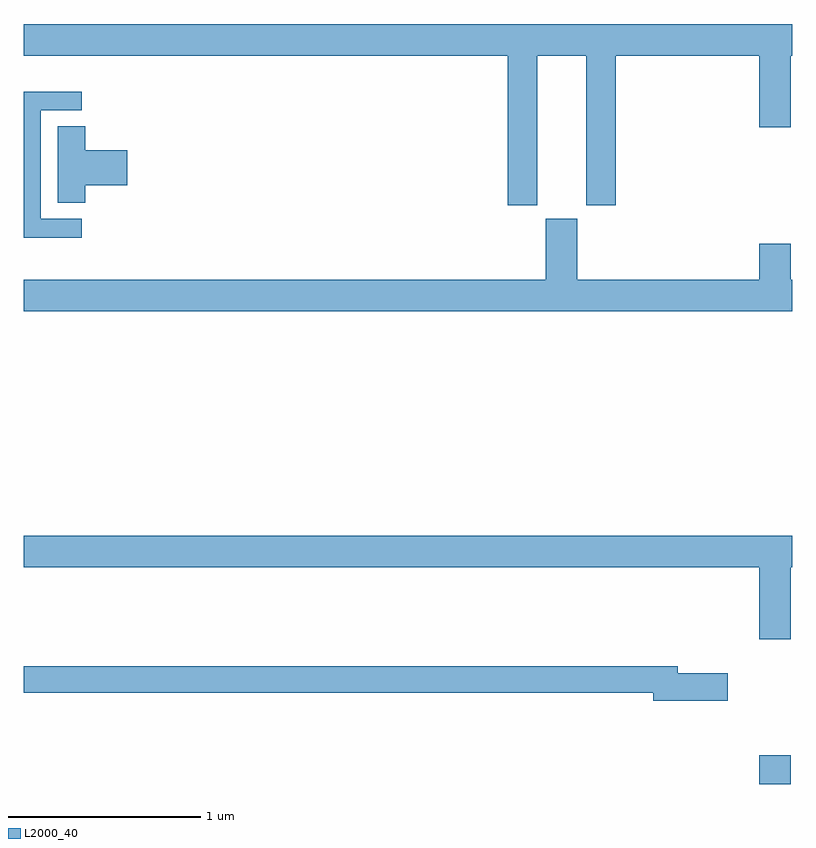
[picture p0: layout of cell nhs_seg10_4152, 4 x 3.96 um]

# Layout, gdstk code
import gdstk
lib = gdstk.Library(unit=1e-6, precision=1e-09)
def R(c, l, rs):  # rectangles x0, y0, x1, y1
    for r in rs: c.add(gdstk.rectangle(r[:2], r[2:], *l))
def P(c, l, *ps):  # polygons
    for p in ps: c.add(gdstk.Polygon(p, *l))
L2000_40 = (2000, 40)

nhs_seg10_4152 = lib.new_cell('nhs_seg10_4152')
R(nhs_seg10_4152, L2000_40, [(344.828,1320.5,344.992,1320.649)])
P(nhs_seg10_4152, L2000_40, [(343.672,1324.292),(343.928,1324.292),(343.928,1323.513),(344.081,1323.513),(344.081,1324.292),(344.828,1324.292),(344.828,1323.918),(344.992,1323.918),(344.992,1324.292),(345,1324.292),(345,1324.456),(341,1324.456),(341,1324.292),(343.52,1324.292),(343.52,1323.513),(343.672,1323.513)],
  [(341.302,1323.441),(341.088,1323.441),(341.088,1324.008),(341.302,1324.008),(341.302,1324.104),(341,1324.104),(341,1323.343),(341.302,1323.343)],
  [(341.321,1323.617),(341.539,1323.617),(341.539,1323.8),(341.321,1323.8),(341.321,1323.923),(341.177,1323.923),(341.177,1323.526),(341.321,1323.526)],
  [(345,1323.124),(344.992,1323.124),(344.992,1323.313),(344.828,1323.313),(344.828,1323.124),(343.882,1323.124),(343.882,1323.441),(343.718,1323.441),(343.718,1323.124),(341,1323.124),(341,1322.96),(345,1322.96)],
  [(344.992,1321.628),(345,1321.628),(345,1321.792),(341,1321.792),(341,1321.628),(344.828,1321.628),(344.828,1321.254),(344.992,1321.254)],
  [(344.665,1321.076),(344.404,1321.076),(344.404,1321.112),(341,1321.112),(341,1320.976),(344.276,1320.976),(344.276,1320.934),(344.665,1320.934)])

lib.write_gds('nhs_seg10_4152.gds')
